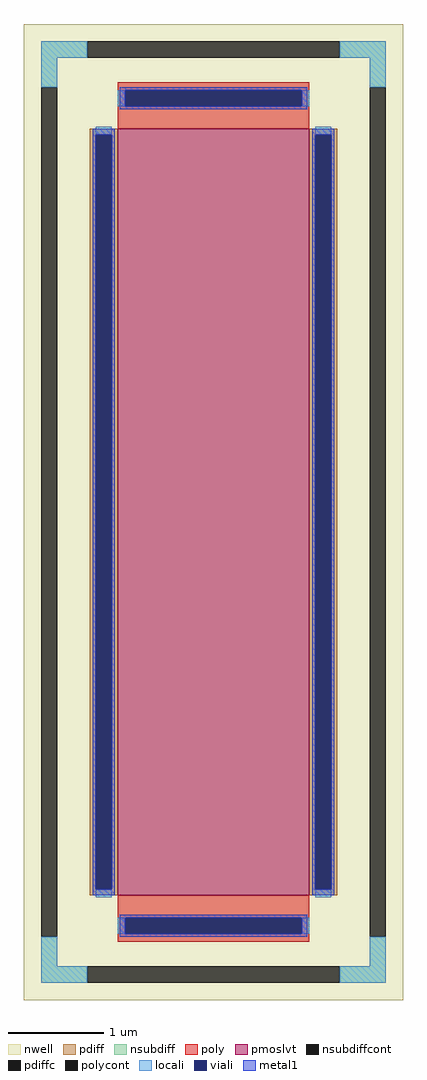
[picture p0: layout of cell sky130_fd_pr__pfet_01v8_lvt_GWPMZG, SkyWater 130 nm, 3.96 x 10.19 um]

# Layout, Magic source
magic
tech sky130A
magscale 1 2
<< nwell >>
rect -396 -1019 396 1019
<< pmoslvt >>
rect -200 -800 200 800
<< pdiff >>
rect -258 788 -200 800
rect -258 -788 -246 788
rect -212 -788 -200 788
rect -258 -800 -200 -788
rect 200 788 258 800
rect 200 -788 212 788
rect 246 -788 258 788
rect 200 -800 258 -788
<< pdiffc >>
rect -246 -788 -212 788
rect 212 -788 246 788
<< nsubdiff >>
rect -360 949 -264 983
rect 264 949 360 983
rect -360 887 -326 949
rect 326 887 360 949
rect -360 -949 -326 -887
rect 326 -949 360 -887
rect -360 -983 -264 -949
rect 264 -983 360 -949
<< nsubdiffcont >>
rect -264 949 264 983
rect -360 -887 -326 887
rect 326 -887 360 887
rect -264 -983 264 -949
<< poly >>
rect -200 881 200 897
rect -200 847 -184 881
rect 184 847 200 881
rect -200 800 200 847
rect -200 -847 200 -800
rect -200 -881 -184 -847
rect 184 -881 200 -847
rect -200 -897 200 -881
<< polycont >>
rect -184 847 184 881
rect -184 -881 184 -847
<< locali >>
rect -360 949 -264 983
rect 264 949 360 983
rect -360 887 -326 949
rect 326 887 360 949
rect -200 847 -184 881
rect 184 847 200 881
rect -246 788 -212 804
rect -246 -804 -212 -788
rect 212 788 246 804
rect 212 -804 246 -788
rect -200 -881 -184 -847
rect 184 -881 200 -847
rect -360 -949 -326 -887
rect 326 -949 360 -887
rect -360 -983 -264 -949
rect 264 -983 360 -949
<< viali >>
rect -184 847 184 881
rect -246 -788 -212 788
rect 212 -788 246 788
rect -184 -881 184 -847
<< metal1 >>
rect -196 881 196 887
rect -196 847 -184 881
rect 184 847 196 881
rect -196 841 196 847
rect -252 788 -206 800
rect -252 -788 -246 788
rect -212 -788 -206 788
rect -252 -800 -206 -788
rect 206 788 252 800
rect 206 -788 212 788
rect 246 -788 252 788
rect 206 -800 252 -788
rect -196 -847 196 -841
rect -196 -881 -184 -847
rect 184 -881 196 -847
rect -196 -887 196 -881
<< properties >>
string FIXED_BBOX -343 -966 343 966
string gencell sky130_fd_pr__pfet_01v8_lvt
string library sky130
string parameters w 8.0 l 2.0 m 1 nf 1 diffcov 100 polycov 100 guard 1 glc 1 grc 1 gtc 1 gbc 1 tbcov 100 rlcov 100 topc 1 botc 1 poverlap 0 doverlap 1 lmin 0.35 wmin 0.42 compatible {sky130_fd_pr__pfet_01v8  sky130_fd_pr__pfet_01v8_lvt sky130_fd_pr__pfet_01v8_hvt  sky130_fd_pr__pfet_g5v0d10v5} full_metal 1 viasrc 100 viadrn 100 viagate 100 viagb 0 viagr 0 viagl 0 viagt 0
<< end >>
